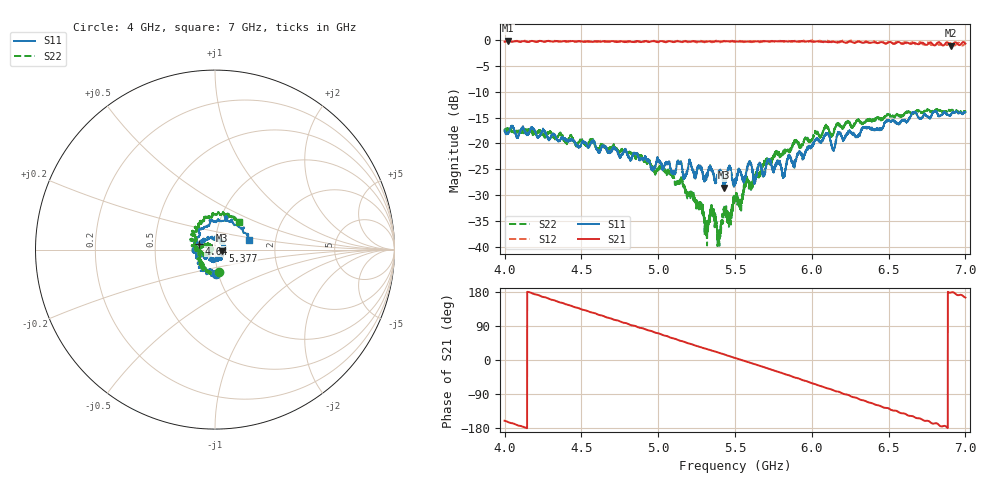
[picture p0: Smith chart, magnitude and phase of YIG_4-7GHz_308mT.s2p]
#  HZ  S  RI  R  50.0
! Rohde & Schwarz ZVL13 2Ports - Version 3.31 - 1303.6509k13 SN: 101088
! Date: 2023-03-06 15:11:06
! Data & Calibration Information:
! Trc4:S11(TOSM) Trc2:S21(TOSM) Trc3:S12(TOSM) Trc5:S22(TOSM)
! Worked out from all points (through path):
!   4000 points, 4 GHz to 7 GHz, reference 50 ohm
!   highest |S21| = -0.18 dB at 4.02 GHz (marker M1); lowest = -1.1 dB at 6.908 GHz (marker M2)
!   group delay of S21, straight-line fit = 364 ps
!   lowest |S11| = -28.5 dB at 5.428 GHz (marker M3), VSWR 1.08, Z = 53.8 - j0.661 ohm
!   |S11| at or under -10 dB: start of sweep to end of sweep
!   |S22| runs from -39.8 to -13.4 dB; largest |S21 - S12| = 0.076
!   S11 on the Smith chart (normalised r, x): 4 GHz: 0.97, -0.27; 4.64 GHz: 0.84, +0.06; 5.377 GHz: 1.09, -0.02; 7 GHz: 1.47, +0.16
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4e9  0.00502 -0.1336  -0.9041 -0.3227  -0.9102 -0.3014  0.0205 -0.1274
4.019505e9  -0.0169 -0.1231  -0.9371 -0.2839  -0.9287 -0.2866  0.0125 -0.1387
4.277569e9  -0.0739 -0.0921  -0.9325 0.2723  -0.9362 0.2801  -0.0631 -0.1059
4.500375e9  -0.0985 -0.0092  -0.6691 0.7003  -0.6633 0.688  -0.0804 -0.0657
4.63991e9  -0.0872 0.0339  -0.433 0.8656  -0.4095 0.8707  -0.0931 -0.0307
5e9  -6.21e-05 0.0701  0.3205 0.9021  0.3239 0.8898  -0.0468 0.0322
5.156789e9  0.0282 0.0483  0.6192 0.7276  0.6147 0.7273  -0.0315 0.0287
5.313578e9  0.05 0.00336  0.838 0.4712  0.8308 0.4815  -0.012 0.00472
5.348087e9  0.0542 0.0112  0.8734 0.4059  0.8643 0.3923  -0.0241 0.00779
5.377344e9  0.0413 -0.00694  0.8986 0.3541  0.9112 0.3564  -0.0154 -0.00128
5.39835e9  0.0533 -0.00746  0.9146 0.3074  0.9018 0.2929  -0.01 0.00234
5.427607e9  0.0369 -0.00614  0.9332 0.2507  0.9434 0.2514  -0.0231 -0.0018
5.460615e9  0.0531 -0.0252  0.9474 0.176  0.9336 0.1838  -0.0156 0.000324
5.500375e9  0.0321 -0.0318  0.9616 0.0879  0.9503 0.0819  -0.0225 -0.0157
5.736684e9  0.000133 -0.0626  0.8728 -0.4106  0.8832 -0.4116  -0.0658 -0.0195
5.815454e9  -0.025 -0.0404  0.7872 -0.5691  0.7769 -0.5669  -0.0793 -0.0222
6e9  -0.0913 -0.0122  0.4607 -0.8427  0.473 -0.8633  -0.1071 0.0211
6.254314e9  -0.1089 0.0668  -0.0971 -0.956  -0.0998 -0.9794  -0.1092 0.0991
6.500375e9  -0.0212 0.1661  -0.5804 -0.7485  -0.5974 -0.7496  -0.0555 0.181
6.72093e9  0.0841 0.1567  -0.8712 -0.3515  -0.8556 -0.3119  0.0326 0.1948
6.907727e9  0.1677 0.0922  -0.8782 0.0304  -0.9258 0.0542  0.1069 0.1788
7e9  0.1924 0.0535  -0.8864 0.2425  -0.905 0.2144  0.1333 0.1512
